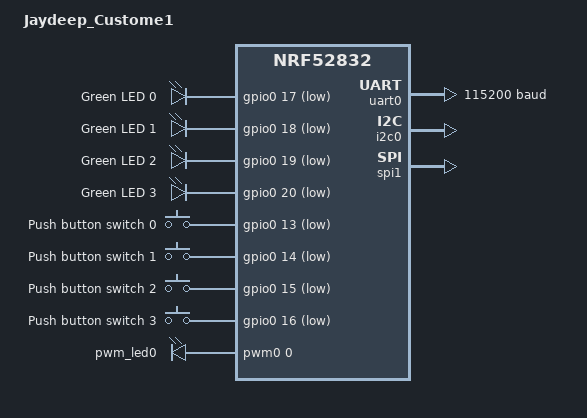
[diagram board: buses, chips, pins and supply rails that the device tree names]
/dts-v1/;
#include <nordic/nrf52832_qfaa.dtsi>
#include "Jaydeep_Custom-pinctrl.dtsi"
#include <zephyr/dt-bindings/input/input-event-codes.h>

/ {
	model = "Jaydeep_Custome1";
	compatible = "Nordic,Jaydeep-Custom";

	chosen {
		zephyr,sram = &sram0;
		zephyr,flash = &flash0;
		zephyr,code-partition = &slot0_partition;
		zephyr,console =  &uart0 ;
		zephyr,shell-uart =  &uart0 ;
		zephyr,uart-mcumgr = &uart0;
	};

	leds {
		compatible = "gpio-leds";
		led0: led_0 {
			gpios = <&gpio0 17 GPIO_ACTIVE_LOW>;
			label = "Green LED 0";
		};
		led1: led_1 {
			gpios = <&gpio0 18 GPIO_ACTIVE_LOW>;
			label = "Green LED 1";
		};
		led2: led_2 {
			gpios = <&gpio0 19 GPIO_ACTIVE_LOW>;
			label = "Green LED 2";
		};
		led3: led_3 {
			gpios = <&gpio0 20 GPIO_ACTIVE_LOW>;
			label = "Green LED 3";
		};
	};

	buttons {
		compatible = "gpio-keys";
		button0: button_0 {
			gpios = <&gpio0 13 (GPIO_PULL_UP | GPIO_ACTIVE_LOW)>;
			label = "Push button switch 0";
			zephyr,code = <INPUT_KEY_0>;
		};
		button1: button_1 {
			gpios = <&gpio0 14 (GPIO_PULL_UP | GPIO_ACTIVE_LOW)>;
			label = "Push button switch 1";
			zephyr,code = <INPUT_KEY_1>;
		};
		button2: button_2 {
			gpios = <&gpio0 15 (GPIO_PULL_UP | GPIO_ACTIVE_LOW)>;
			label = "Push button switch 2";
			zephyr,code = <INPUT_KEY_2>;
		};
		button3: button_3 {
			gpios = <&gpio0 16 (GPIO_PULL_UP | GPIO_ACTIVE_LOW)>;
			label = "Push button switch 3";
			zephyr,code = <INPUT_KEY_3>;
		};
	};

	pwmleds {
		compatible = "pwm-leds";
		pwm_led0: pwm_led_0 {
			pwms = <&pwm0 0 PWM_MSEC(20) PWM_POLARITY_INVERTED>;
		};
	};

	/* These aliases are provided for compatibility with samples */
	aliases {
		led0 = &led0;
		led1 = &led1;
		led2 = &led2;
		led3 = &led3;
		pwm-led0 = &pwm_led0;
		sw0 = &button0;
		sw1 = &button1;
		sw2 = &button2;
		sw3 = &button3;
		bootloader-led0 = &led0;
		mcuboot-button0 = &button0;
		mcuboot-led0 = &led0;
		watchdog0 = &wdt0;
	};
};

&flash0 {
	partitions {
		compatible = "fixed-partitions";
		#address-cells = <1>;
		#size-cells = <1>;

		boot_partition: partition@0 {
			label = "mcuboot";
			reg = <0x00000000 DT_SIZE_K(48)>;
		};

		slot0_partition: partition@c000 {
			label = "image-0";
			reg = <0x0000c000 DT_SIZE_K(220)>;
		};

		slot1_partition: partition@43000 {
			label = "image-1";
			reg = <0x00043000 DT_SIZE_K(220)>;
		};

		storage_partition: partition@7a000 {
			label = "storage";
			reg = <0x0007a000 DT_SIZE_K(24)>;
		};
	};
};
&gpio0 {
	status = "okay";
};

&gpiote {
	status = "okay";
};

&uart0 {
	compatible = "nordic,nrf-uarte";
	status = "okay";
	current-speed = <115200>;
	pinctrl-0 = <&uart0_default>;
	pinctrl-1 = <&uart0_sleep>;
	pinctrl-names = "default", "sleep";
};

&i2c0 {
	compatible = "nordic,nrf-twim";
	status = "okay";
	pinctrl-0 = <&i2c0_default>;
	pinctrl-1 = <&i2c0_sleep>;
	pinctrl-names = "default", "sleep";
}; 

&spi1 {
	compatible = "nordic,nrf-spim";
	status = "okay";
	pinctrl-0 = <&spi1_default>;
	pinctrl-1 = <&spi1_sleep>;
	pinctrl-names = "default", "sleep";
};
